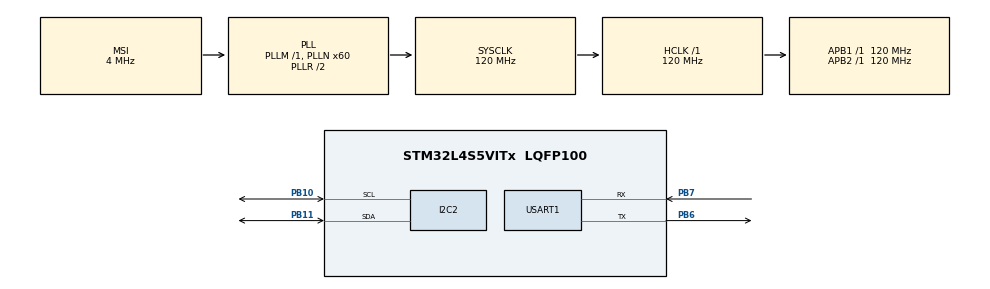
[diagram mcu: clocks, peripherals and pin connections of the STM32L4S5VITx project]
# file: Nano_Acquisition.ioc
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I2C2.Timing=0x30A175AB
Mcu.Family=STM32L4
Mcu.Name=STM32L4S5VITx
Mcu.Package=LQFP100
NVIC.PriorityGroup=NVIC_PRIORITYGROUP_4
PB10.Mode=I2C
PB10.Signal=I2C2_SCL
PB11.Mode=I2C
PB11.Signal=I2C2_SDA
PB6.Mode=Asynchronous
PB6.Signal=USART1_TX
PB7.Mode=Asynchronous
PB7.Signal=USART1_RX
ProjectManager.HeapSize=0x200
ProjectManager.StackSize=0x400
ProjectManager.TargetToolchain=STM32CubeIDE
RCC.ADCFreq_Value=48000000
RCC.AHBFreq_Value=120000000
RCC.APB1Freq_Value=120000000
RCC.APB1TimFreq_Value=120000000
RCC.APB2Freq_Value=120000000
RCC.APB2TimFreq_Value=120000000
RCC.CortexFreq_Value=120000000
RCC.HCLKFreq_Value=120000000
RCC.HSE_VALUE=8000000
RCC.HSI48_VALUE=48000000
RCC.HSI_VALUE=16000000
RCC.MSI_VALUE=4000000
RCC.PLLN=60
RCC.PLLSAI1N=24
RCC.SYSCLKFreq_VALUE=120000000
RCC.SYSCLKSource=RCC_SYSCLKSOURCE_PLLCLK
RCC.USBFreq_Value=48000000
RCC.VCOOutputFreq_Value=240000000
USART1.VirtualMode-Asynchronous=VM_ASYNC
board=B-L4S5I-IOT01A

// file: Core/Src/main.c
/* USER CODE BEGIN Header */
/**
  ******************************************************************************
  * @file           : main.c
  * @brief          : Main program body
  ******************************************************************************
  * @attention
  *
  * Copyright (c) 2026 STMicroelectronics.
  * All rights reserved.
  *
  * This software is licensed under terms that can be found in the LICENSE file
  * in the root directory of this software component.
  * If no LICENSE file comes with this software, it is provided AS-IS.
  *
  ******************************************************************************
  */
/* USER CODE END Header */
#include "main.h"

/* USER CODE BEGIN Includes */
#include "imu.h"
#include "string.h"
#include "stdio.h"
/* USER CODE END Includes */

/* USER CODE BEGIN PM */
#define DATA_INPUT_USER 256
#define AXIS_NUMBER 6
/* USER CODE END PM */

I2C_HandleTypeDef hi2c2;

UART_HandleTypeDef huart1;

/* USER CODE BEGIN PV */
float Imu_buffer[AXIS_NUMBER * DATA_INPUT_USER]={0};
/* USER CODE END PV */

void SystemClock_Config(void);
static void MX_GPIO_Init(void);
static void MX_I2C2_Init(void);
static void MX_USART1_UART_Init(void);
/* USER CODE BEGIN PFP */
void fill_imu_buffer();
void Log();
/* USER CODE END PFP */

/* USER CODE BEGIN 0 */
float ax, ay, az;
float gx, gy, gz;
/* USER CODE END 0 */

int main(void)
{

  /* MCU Configuration--------------------------------------------------------*/

  /* Reset of all peripherals, Initializes the Flash interface and the Systick. */
  HAL_Init();

  /* Configure the system clock */
  SystemClock_Config();

  /* Initialize all configured peripherals */
  MX_GPIO_Init();
  MX_I2C2_Init();
  MX_USART1_UART_Init();
  /* USER CODE BEGIN 2 */
  IMU_Init();

  /* USER CODE END 2 */

  /* Infinite loop */
  while (1)
  {

    /* USER CODE BEGIN 3 */
	  Log();
  }
  /* USER CODE END 3 */
}

void SystemClock_Config(void)
{
  RCC_OscInitTypeDef RCC_OscInitStruct = {0};
  RCC_ClkInitTypeDef RCC_ClkInitStruct = {0};

  /** Configure the main internal regulator output voltage
  */
  if (HAL_PWREx_ControlVoltageScaling(PWR_REGULATOR_VOLTAGE_SCALE1_BOOST) != HAL_OK)
  {
    Error_Handler();
  }

  /** Initializes the RCC Oscillators according to the specified parameters
  * in the RCC_OscInitTypeDef structure.
  */
  RCC_OscInitStruct.OscillatorType = RCC_OSCILLATORTYPE_MSI;
  RCC_OscInitStruct.MSIState = RCC_MSI_ON;
  RCC_OscInitStruct.MSICalibrationValue = 0;
  RCC_OscInitStruct.MSIClockRange = RCC_MSIRANGE_6;
  RCC_OscInitStruct.PLL.PLLState = RCC_PLL_ON;
  RCC_OscInitStruct.PLL.PLLSource = RCC_PLLSOURCE_MSI;
  RCC_OscInitStruct.PLL.PLLM = 1;
  RCC_OscInitStruct.PLL.PLLN = 60;
  RCC_OscInitStruct.PLL.PLLP = RCC_PLLP_DIV2;
  RCC_OscInitStruct.PLL.PLLQ = RCC_PLLQ_DIV2;
  RCC_OscInitStruct.PLL.PLLR = RCC_PLLR_DIV2;
  if (HAL_RCC_OscConfig(&RCC_OscInitStruct) != HAL_OK)
  {
    Error_Handler();
  }

  /** Initializes the CPU, AHB and APB buses clocks
  */
  RCC_ClkInitStruct.ClockType = RCC_CLOCKTYPE_HCLK|RCC_CLOCKTYPE_SYSCLK
                              |RCC_CLOCKTYPE_PCLK1|RCC_CLOCKTYPE_PCLK2;
  RCC_ClkInitStruct.SYSCLKSource = RCC_SYSCLKSOURCE_PLLCLK;
  RCC_ClkInitStruct.AHBCLKDivider = RCC_SYSCLK_DIV1;
  RCC_ClkInitStruct.APB1CLKDivider = RCC_HCLK_DIV1;
  RCC_ClkInitStruct.APB2CLKDivider = RCC_HCLK_DIV1;

  if (HAL_RCC_ClockConfig(&RCC_ClkInitStruct, FLASH_LATENCY_5) != HAL_OK)
  {
    Error_Handler();
  }
}

static void MX_I2C2_Init(void)
{

  hi2c2.Instance = I2C2;
  hi2c2.Init.Timing = 0x30A175AB;
  hi2c2.Init.OwnAddress1 = 0;
  hi2c2.Init.AddressingMode = I2C_ADDRESSINGMODE_7BIT;
  hi2c2.Init.DualAddressMode = I2C_DUALADDRESS_DISABLE;
  hi2c2.Init.OwnAddress2 = 0;
  hi2c2.Init.OwnAddress2Masks = I2C_OA2_NOMASK;
  hi2c2.Init.GeneralCallMode = I2C_GENERALCALL_DISABLE;
  hi2c2.Init.NoStretchMode = I2C_NOSTRETCH_DISABLE;
  if (HAL_I2C_Init(&hi2c2) != HAL_OK)
  {
    Error_Handler();
  }

  /** Configure Analogue filter
  */
  if (HAL_I2CEx_ConfigAnalogFilter(&hi2c2, I2C_ANALOGFILTER_ENABLE) != HAL_OK)
  {
    Error_Handler();
  }

  /** Configure Digital filter
  */
  if (HAL_I2CEx_ConfigDigitalFilter(&hi2c2, 0) != HAL_OK)
  {
    Error_Handler();
  }

}

static void MX_USART1_UART_Init(void)
{

  huart1.Instance = USART1;
  huart1.Init.BaudRate = 115200;
  huart1.Init.WordLength = UART_WORDLENGTH_8B;
  huart1.Init.StopBits = UART_STOPBITS_1;
  huart1.Init.Parity = UART_PARITY_NONE;
  huart1.Init.Mode = UART_MODE_TX_RX;
  huart1.Init.HwFlowCtl = UART_HWCONTROL_NONE;
  huart1.Init.OverSampling = UART_OVERSAMPLING_16;
  huart1.Init.OneBitSampling = UART_ONE_BIT_SAMPLE_DISABLE;
  huart1.Init.ClockPrescaler = UART_PRESCALER_DIV1;
  huart1.AdvancedInit.AdvFeatureInit = UART_ADVFEATURE_NO_INIT;
  if (HAL_UART_Init(&huart1) != HAL_OK)
  {
    Error_Handler();
  }
  if (HAL_UARTEx_SetTxFifoThreshold(&huart1, UART_TXFIFO_THRESHOLD_1_8) != HAL_OK)
  {
    Error_Handler();
  }
  if (HAL_UARTEx_SetRxFifoThreshold(&huart1, UART_RXFIFO_THRESHOLD_1_8) != HAL_OK)
  {
    Error_Handler();
  }
  if (HAL_UARTEx_DisableFifoMode(&huart1) != HAL_OK)
  {
    Error_Handler();
  }

}

static void MX_GPIO_Init(void)
{

  /* GPIO Ports Clock Enable */
  __HAL_RCC_GPIOB_CLK_ENABLE();

}

/* USER CODE BEGIN 4 */
void fill_imu_buffer()
{
	for (int i=0;i<DATA_INPUT_USER;i++){
		IMU_Read_Accel(&ax, &ay, &az);
		IMU_Read_Gyro(&gx, &gy, &gz);
		Imu_buffer[AXIS_NUMBER*i]=ax;
		Imu_buffer[AXIS_NUMBER*i+1]=ay;
		Imu_buffer[AXIS_NUMBER*i+2]=az;
		Imu_buffer[AXIS_NUMBER*i+3]=gx;
		Imu_buffer[AXIS_NUMBER*i+4]=gy;
		Imu_buffer[AXIS_NUMBER*i+5]=gz;
	}
}

void Log(){
	fill_imu_buffer();
	for (int i=0;i<DATA_INPUT_USER;i++){
		printf("%.2f",Imu_buffer[AXIS_NUMBER*i]);
		printf(" ");
		printf("%.2f",Imu_buffer[AXIS_NUMBER*i+1]);
		printf(" ");
		printf("%.2f",Imu_buffer[AXIS_NUMBER*i+2]);
		printf(" ");
		printf("%.2f",Imu_buffer[AXIS_NUMBER*i+3]);
		printf(" ");
		printf("%.2f",Imu_buffer[AXIS_NUMBER*i+4]);
		printf(" ");
		printf("%.2f",Imu_buffer[AXIS_NUMBER*i+5]);
		printf(" ");
	}
	printf("\r\n");
	HAL_Delay(100);
}
int __io_putchar(int ch)
{
	HAL_UART_Transmit(&huart1,(uint8_t *)&ch,1,HAL_MAX_DELAY);
	return ch;
}

/* USER CODE END 4 */

void Error_Handler(void)
{
  __disable_irq();
  while (1)
  {
  }
}
